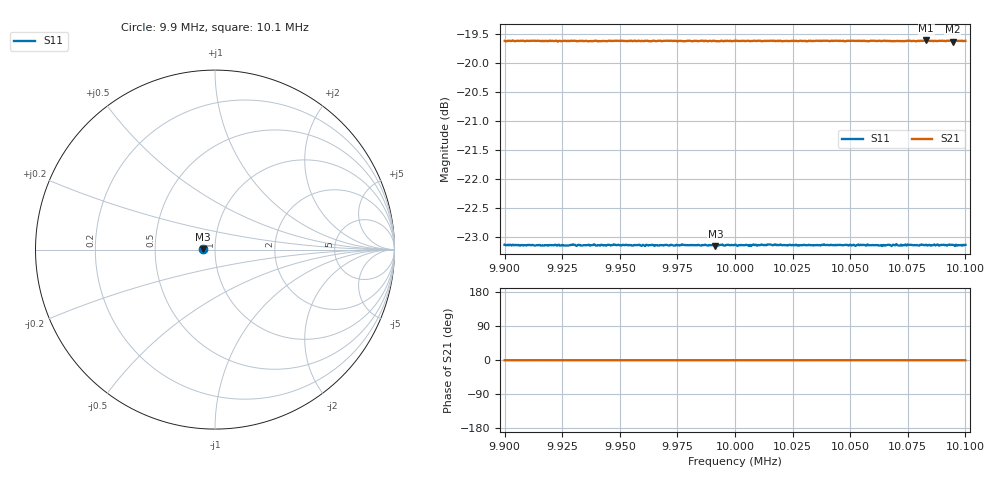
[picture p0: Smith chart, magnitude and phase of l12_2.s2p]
! NanoVNA-App
! Date: 2026-10-13 22:15:24
! Start: 9,9MHz Stop: 10,1MHz Points: 401
! S-Parameter data: F S11 S21 S12 S22
# Hz S RI R 50
!  Frequency  S11_Real  S11_Imag  S21_Real  S21_Imag  S12_Real  S12_Imag  S22_Real  S22_Imag
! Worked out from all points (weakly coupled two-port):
!   401 points, 9.9 MHz to 10.1 MHz, reference 50 ohm
!   highest |S21| = -19.61 dB at 10.083 MHz (marker M1); lowest = -19.6 dB at 10.095 MHz (marker M2)
!   lowest |S11| = -23.2 dB at 9.9915 MHz (marker M3), VSWR 1.15, Z = 43.5 + j0.337 ohm
!   |S11| at or under -10 dB: start of sweep to end of sweep
!   S12 and S22 are empty: the file has one direction only
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9900000  -0.0696 0.0039  0.1045 -0.00111  0 0  0 0
9927000  -0.0694 0.00392  0.1044 -0.00113  0 0  0 0
9929500  -0.0696 0.00391  0.1045 -0.00112  0 0  0 0
9933500  -0.0694 0.0039  0.1045 -0.00116  0 0  0 0
9948500  -0.0695 0.00391  0.1045 -0.0011  0 0  0 0
9949500  -0.0695 0.00392  0.1045 -0.00106  0 0  0 0
9957500  -0.0695 0.00394  0.1045 -0.0011  0 0  0 0
9960000  -0.0695 0.00381  0.1045 -0.00119  0 0  0 0
9967000  -0.0694 0.00391  0.1045 -0.00107  0 0  0 0
9978000  -0.0695 0.00393  0.1044 -0.00109  0 0  0 0
9991500  -0.0694 0.00385  0.1045 -0.00114  0 0  0 0
1e7  -0.0696 0.00384  0.1046 -0.00106  0 0  0 0
1.00065e7  -0.0695 0.00397  0.1045 -0.00117  0 0  0 0
1.0015e7  -0.0696 0.00384  0.1045 -0.00119  0 0  0 0
1.0022e7  -0.0695 0.00388  0.1045 -0.00111  0 0  0 0
1.00335e7  -0.0695 0.00394  0.1044 -0.00116  0 0  0 0
1.00385e7  -0.0696 0.00391  0.1046 -0.00115  0 0  0 0
1.0067e7  -0.0696 0.00388  0.1045 -0.00111  0 0  0 0
1.0083e7  -0.0696 0.00388  0.1046 -0.00115  0 0  0 0
1.00945e7  -0.0695 0.00387  0.1044 -0.00107  0 0  0 0
1.00975e7  -0.0695 0.00389  0.1045 -0.00121  0 0  0 0
1.01e7  -0.0696 0.00386  0.1045 -0.00118  0 0  0 0
